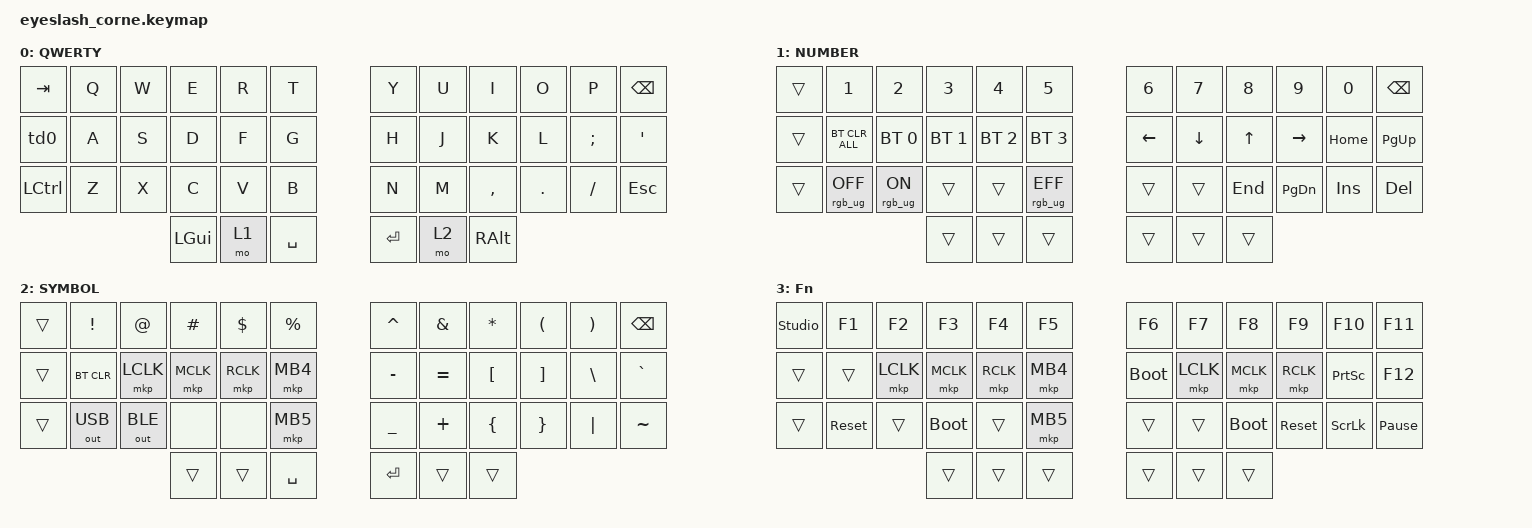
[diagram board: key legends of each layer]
#include <behaviors.dtsi>
#include <dt-bindings/zmk/bt.h>
#include <dt-bindings/zmk/keys.h>
#include <dt-bindings/zmk/mouse.h>
#include <dt-bindings/zmk/outputs.h>
#include <dt-bindings/zmk/rgb.h>
#include <input/processors.dtsi>

#undef RC
#define RC(row, col) ((row << 8) | col)

/ {
    chosen {
        zmk,matrix_transform = &corne_transform;
        /delete-property/ zmk,physical-layout;
    };

    // Define o mapa exato para o seu Corne de 6 colunas
    corne_transform: keymap_transform_0 {
        compatible = "zmk,matrix-transform";
        columns = <12>;
        rows = <4>;
        map = <
            RC(0,0) RC(0,1) RC(0,2) RC(0,3) RC(0,4) RC(0,5)    RC(0,6) RC(0,7) RC(0,8) RC(0,9) RC(0,10) RC(0,11)
            RC(1,0) RC(1,1) RC(1,2) RC(1,3) RC(1,4) RC(1,5)    RC(1,6) RC(1,7) RC(1,8) RC(1,9) RC(1,10) RC(1,11)
            RC(2,0) RC(2,1) RC(2,2) RC(2,3) RC(2,4) RC(2,5)    RC(2,6) RC(2,7) RC(2,8) RC(2,9) RC(2,10) RC(2,11)
                                    RC(3,3) RC(3,4) RC(3,5)    RC(3,6) RC(3,7) RC(3,8)
        >;
    };

    behaviors {
        td0: td0 {
            compatible = "zmk,behavior-tap-dance";
            display-name = "Shift/Caps Lock Tap Dance";
            #binding-cells = <0>;
            bindings = <&kp LEFT_SHIFT>, <&kp CAPS>;
        };
    };

    keymap {
        compatible = "zmk,keymap";

        default_layer {
            display-name = "QWERTY";
            bindings = <
&kp TAB    &kp Q  &kp W  &kp E     &kp R  &kp T        &kp Y  &kp U  &kp I     &kp O    &kp P     &kp BSPC
&td0       &kp A  &kp S  &kp D     &kp F  &kp G        &kp H  &kp J  &kp K     &kp L    &kp SEMI  &kp SQT
&kp LCTRL  &kp Z  &kp X  &kp C     &kp V  &kp B        &kp N  &kp M  &kp COMMA &kp DOT  &kp FSLH  &kp ESC
                         &kp LGUI  &mo 1  &kp SPACE    &kp RET &mo 2  &kp RALT
            >;
        };

        lower_layer {
            display-name = "NUMBER";
            bindings = <
&trans  &kp N1           &kp N2           &kp N3           &kp N4           &kp N5             &kp N6    &kp N7    &kp N8    &kp N9    &kp N0    &kp BSPC
&trans  &bt BT_CLR_ALL   &bt BT_SEL 0     &bt BT_SEL 1     &bt BT_SEL 2     &bt BT_SEL 3       &kp LEFT  &kp DOWN  &kp UP    &kp RIGHT &kp HOME  &kp PG_UP
&trans  &rgb_ug RGB_OFF  &rgb_ug RGB_ON   &trans           &trans           &rgb_ug RGB_EFF    &trans    &trans    &kp END   &kp PG_DN &kp INS   &kp DEL
                                          &trans           &trans           &trans             &trans    &trans    &trans
            >;
        };

        raise_layer {
            display-name = "SYMBOL";
            bindings = <
&trans  &kp EXCL      &kp AT        &kp HASH  &kp DLLR  &kp PRCNT    &kp CARET  &kp AMPS  &kp ASTRK  &kp LPAR  &kp RPAR  &kp BSPC
&trans  &bt BT_CLR    &mkp LCLK     &mkp MCLK &mkp RCLK &mkp MB4     &kp MINUS  &kp EQUAL &kp LBKT   &kp RBKT  &kp BSLH  &kp GRAVE
&trans  &out OUT_USB  &out OUT_BLE  &none     &none     &mkp MB5     &kp UNDER  &kp PLUS  &kp LBRC   &kp RBRC  &kp PIPE  &kp TILDE
                                    &trans    &trans    &kp SPACE    &kp RET    &trans    &trans
            >;
        };

        layer_3 {
            display-name = "Fn";
            bindings = <
&studio_unlock  &kp F1       &kp F2       &kp F3       &kp F4       &kp F5          &kp F6       &kp F7       &kp F8       &kp F9       &kp F10          &kp F11
&trans          &trans       &mkp LCLK    &mkp MCLK    &mkp RCLK    &mkp MB4        &bootloader  &mkp LCLK    &mkp MCLK    &mkp RCLK    &kp PRINTSCREEN  &kp F12
&trans          &sys_reset   &trans       &bootloader  &trans       &mkp MB5        &trans       &trans       &bootloader  &sys_reset   &kp SCROLLLOCK   &kp PAUSE_BREAK
                                          &trans       &trans       &trans          &trans       &trans       &trans
            >;
        };
    };
};
